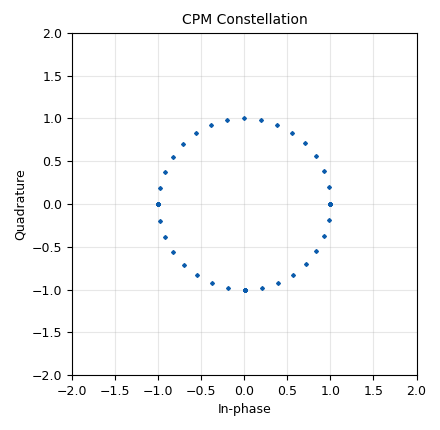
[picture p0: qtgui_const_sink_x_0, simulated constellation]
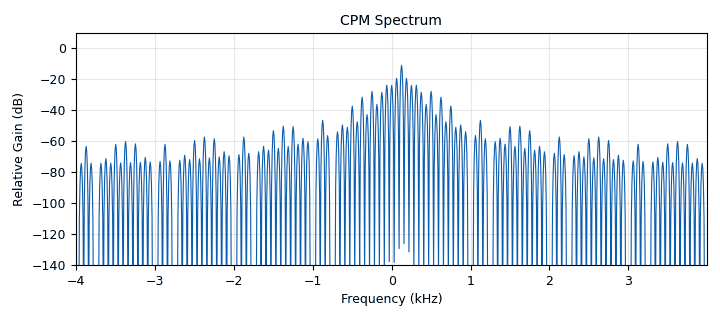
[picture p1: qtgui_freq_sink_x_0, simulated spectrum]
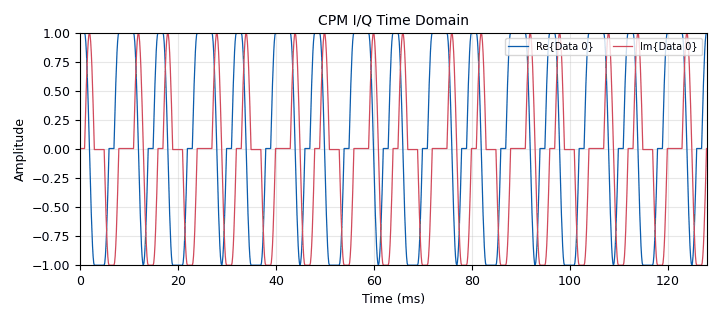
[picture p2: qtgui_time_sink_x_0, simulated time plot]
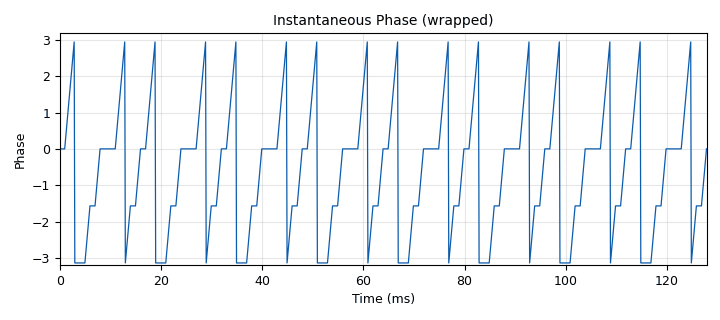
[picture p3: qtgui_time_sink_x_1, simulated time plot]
options:
  parameters:
    generate_options: qt_gui
    id: cpm_example
    output_language: python
    title: Continuous Phase Modulation Example
  states: {}

blocks:
- name: samp_rate
  id: variable
  parameters:
    value: '8000'
  states: {}
- name: blocks_complex_to_arg_0
  id: blocks_complex_to_arg
  parameters: {}
  states: {}
- name: blocks_throttle2_0
  id: blocks_throttle2
  parameters:
    samples_per_second: samp_rate
    type: complex
  states: {}
- name: blocks_vector_source_x_0
  id: blocks_vector_source_x
  parameters:
    repeat: 'True'
    type: byte
    vector: (0, 0, 0, 1, 1, 1, 0, 1,0, 1, 1, 0, 0, 1, 0, 1)
  states: {}
- name: digital_cpmmod_bc_0
  id: digital_cpmmod_bc
  parameters:
    L: '1'
    mod_index: '0.5'
    samples_per_symbol: '8'
    type: analog.cpm.LREC
  states: {}
- name: qtgui_const_sink_x_0
  id: qtgui_const_sink_x
  parameters:
    name: CPM Constellation
    size: '1024'
    type: complex
  states: {}
- name: qtgui_freq_sink_x_0
  id: qtgui_freq_sink_x
  parameters:
    bw: samp_rate
    fc: '0'
    fftsize: '1024'
    name: CPM Spectrum
    type: complex
  states: {}
- name: qtgui_time_sink_x_0
  id: qtgui_time_sink_x
  parameters:
    name: CPM I/Q Time Domain
    size: '1024'
    srate: samp_rate
    type: complex
  states: {}
- name: qtgui_time_sink_x_1
  id: qtgui_time_sink_x
  parameters:
    name: Instantaneous Phase (wrapped)
    size: '1024'
    srate: samp_rate
    type: float
    ylabel: Phase
    ymax: '3.2'
    ymin: '-3.2'
    yunit: Rad
  states: {}

connections:
- [blocks_complex_to_arg_0, '0', qtgui_time_sink_x_1, '0']
- [blocks_throttle2_0, '0', blocks_complex_to_arg_0, '0']
- [blocks_throttle2_0, '0', qtgui_const_sink_x_0, '0']
- [blocks_throttle2_0, '0', qtgui_freq_sink_x_0, '0']
- [blocks_throttle2_0, '0', qtgui_time_sink_x_0, '0']
- [blocks_vector_source_x_0, '0', digital_cpmmod_bc_0, '0']
- [digital_cpmmod_bc_0, '0', blocks_throttle2_0, '0']

metadata:
  file_format: 1
  grc_version: 3.10.9.2
